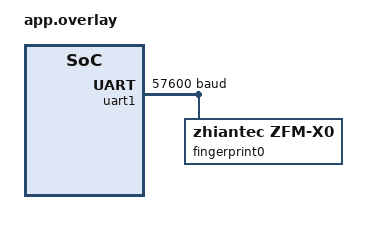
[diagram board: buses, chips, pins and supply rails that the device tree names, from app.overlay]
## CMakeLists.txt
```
cmake_minimum_required(VERSION 3.28.0)

find_package(Zephyr REQUIRED HINTS $ENV{ZEPHYR_BASE})
project(fingerprint)

target_sources(app PRIVATE src/main.c)
```

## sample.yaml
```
sample:
  name: Fingerprint Sensor
  description: Fingerprint sensor driver test based on the biometrics API

tests:
  sample.drivers.biometrics.fingerprint:
    harness: console
    harness_config:
      type: one_line
      regex:
        - "Test complete"
    tags:
      - drivers
      - biometrics
      - fingerprint
    filter: dt_alias_exists("fingerprint")
    platform_allow:
      - native_sim
      - native_sim/native/64
```

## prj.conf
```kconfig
CONFIG_BIOMETRICS=y

CONFIG_SERIAL=y
CONFIG_UART_INTERRUPT_DRIVEN=y

CONFIG_LOG=y
CONFIG_BIOMETRICS_LOG_LEVEL_INF=y

CONFIG_HEAP_MEM_POOL_SIZE=8192
```

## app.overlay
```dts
/*
 * SPDX-License-Identifier: Apache-2.0
 * Copyright (c) 2025 Siratul Islam
 *
 * Sample devicetree overlay for a fingerprint sensor
 */

/ {
	aliases {
		fingerprint = &fingerprint0;
	};
};

&uart1 {
	current-speed = <57600>;
	status = "okay";

	fingerprint0: fingerprint0 {
		compatible = "zhiantec,zfm-x0";
		comm-addr = <0xffffffff>;
		status = "okay";
	};
};
```

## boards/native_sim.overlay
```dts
/*
 * SPDX-License-Identifier: Apache-2.0
 * Copyright (c) 2025 Siratul Islam
 */

/ {
	aliases {
		fingerprint = &biometrics_emul;
	};

	biometrics_emul: biometrics-emul {
		compatible = "zephyr,biometrics-emul";
		status = "okay";
	};
};
```

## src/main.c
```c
/*
 * Copyright (c) 2025 Siratul Islam
 *
 * SPDX-License-Identifier: Apache-2.0
 */

#include <zephyr/kernel.h>
#include <zephyr/device.h>
#include <zephyr/drivers/biometrics.h>
#include <zephyr/logging/log.h>

LOG_MODULE_REGISTER(main, LOG_LEVEL_INF);

#define FINGERPRINT_NODE DT_ALIAS(fingerprint)

#if !DT_NODE_EXISTS(FINGERPRINT_NODE)
#error "Fingerprint sensor not defined. Add 'fingerprint = &fingerprint;' to your DTS aliases"
#endif

static const struct device *const fingerprint = DEVICE_DT_GET(FINGERPRINT_NODE);

static void print_capabilities(void)
{
	struct biometric_capabilities caps;
	int ret;

	ret = biometric_get_capabilities(fingerprint, &caps);
	if (ret < 0) {
		LOG_ERR("Failed to get capabilities: %d", ret);
		return;
	}

	LOG_INF("Sensor capabilities:");
	LOG_INF("  Max templates: %u", caps.max_templates);
	LOG_INF("  Template size: %u bytes", caps.template_size);
	LOG_INF("  Enrollment samples: %u", caps.enrollment_samples_required);
}

static int enroll_fingerprint(uint16_t template_id)
{
	struct biometric_capabilities caps;
	struct biometric_capture_result capture = {0};
	int ret;

	LOG_INF("Enrolling finger ID %u", template_id);

	ret = biometric_get_capabilities(fingerprint, &caps);
	if (ret < 0) {
		return ret;
	}

	ret = biometric_enroll_start(fingerprint, template_id);
	if (ret < 0) {
		return ret;
	}

	LOG_INF("Place finger...");

	do {
		ret = biometric_enroll_capture(fingerprint, K_SECONDS(5), &capture);
		if (ret < 0) {
			biometric_enroll_abort(fingerprint);
			return ret;
		}

		LOG_INF("Sample %u/%u captured (quality: %u)", capture.samples_captured,
			caps.enrollment_samples_required, capture.quality);

		if (capture.samples_captured < caps.enrollment_samples_required) {
			LOG_INF("Lift finger and place again...");
			k_sleep(K_MSEC(500));
		}

	} while (capture.samples_captured < caps.enrollment_samples_required);

	ret = biometric_enroll_finalize(fingerprint);
	if (ret == 0) {
		LOG_INF("Enrollment complete");
	}

	return ret;
}

static void test_verification(uint16_t template_id)
{
	struct biometric_match_result result;
	int ret;

	LOG_INF("Verifying finger against ID %u", template_id);
	LOG_INF("Place finger...");

	ret = biometric_match(fingerprint, BIOMETRIC_MATCH_VERIFY, template_id, K_SECONDS(5),
			      &result);

	if (ret == 0) {
		LOG_INF("Match! Confidence: %d, Quality: %u", result.confidence,
			result.image_quality);
	} else if (ret == -ENOENT) {
		LOG_WRN("No match");
	} else if (ret == -ETIMEDOUT) {
		LOG_WRN("Timeout");
	} else {
		LOG_ERR("Verification failed: %d", ret);
	}
}

static void test_identification(void)
{
	struct biometric_match_result result;
	int ret;

	LOG_INF("Searching for any enrolled finger...");

	ret = biometric_match(fingerprint, BIOMETRIC_MATCH_IDENTIFY, 0, K_SECONDS(5), &result);

	if (ret == 0) {
		LOG_INF("Matched ID %u, confidence %d, quality %u", result.template_id,
			result.confidence, result.image_quality);
	} else if (ret == -ENOENT) {
		LOG_WRN("No match found");
	} else if (ret == -ETIMEDOUT) {
		LOG_WRN("Timeout");
	} else {
		LOG_ERR("Identification failed: %d", ret);
	}
}

static void list_templates(void)
{
	uint16_t ids[50];
	size_t count;
	int ret;

	ret = biometric_template_list(fingerprint, ids, ARRAY_SIZE(ids), &count);
	if (ret < 0) {
		LOG_ERR("Failed to list templates: %d", ret);
		return;
	}

	if (count == 0) {
		LOG_INF("No templates stored");
		return;
	}

	LOG_INF("Found %zu stored template(s):", count);
	for (size_t i = 0; i < count; i++) {
		LOG_INF("  - Template ID: %u", ids[i]);
	}
}

int main(void)
{
	LOG_INF("Fingerprint Sensor Test");

	if (!device_is_ready(fingerprint)) {
		LOG_ERR("Sensor not ready");
		return -ENODEV;
	}

	print_capabilities();

	LOG_INF("Enroll two fingers");
	enroll_fingerprint(1);
	enroll_fingerprint(2);

	list_templates();

	test_verification(1);
	test_identification();

	biometric_template_delete(fingerprint, 1);
	list_templates();

	LOG_INF("Test complete");
	return 0;
}
```
